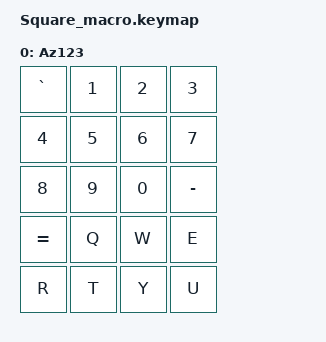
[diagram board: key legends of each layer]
#include <behaviors.dtsi>
#include <dt-bindings/zmk/keys.h>
#include <dt-bindings/zmk/pointing.h>
#include <dt-bindings/zmk/bt.h>
#include <behaviors/rgbled_widget.dtsi>

#define JIS 1
#define BT 3

&mt {
   flavor = "tap-preferred";
   quick_tap_ms = <125>;
   tapping_term_ms = <250>;
};
 
/* {
    macros {
        to_layer_0: to_layer_0 {
            compatible = "zmk,behavior-macro-one-param";
            #binding-cells = <1>;
            bindings = <&to 0 &macro_param_1to1 &kp MACRO_PLACEHOLDER>;
            label = "TO_LAYER_0";
        };
    };

    behaviors {
        lt_to_layer_0: lt_to_layer_0 {
            compatible = "zmk,behavior-hold-tap";
            label = "LAYER_TAP_TO_0";
            bindings = <&mo>, <&to_layer_0>;

            #binding-cells = <2>;
            tapping-term-ms = <200>;
        };
        toJIS: toJIS {
            compatible = "zmk,behavior-hold-tap";
            label = "toJIS";
            #binding-cells = <2>;
            tapping-term-ms = <200>;
            quick-tap-ms = <0>;
            bindings = <&tog>, <&kp>;
        };
        mo2: mo2 {
            compatible = "zmk,behavior-mod-morph";
            #binding-cells = <0>;
            bindings = <&kp N2>, <&kp LBKT>;
            mods = <(MOD_LSFT|MOD_RSFT)>;
        };
        mo6: mo6 {
            compatible = "zmk,behavior-mod-morph";
            #binding-cells = <0>;
            bindings = <&kp N6>, <&kp EQUAL>;
            mods = <(MOD_LSFT|MOD_RSFT)>;
        };
        mo7: mo7 {
            compatible = "zmk,behavior-mod-morph";
            #binding-cells = <0>;
            bindings = <&kp N7>, <&kp LS(N6)>;
            mods = <(MOD_LSFT|MOD_RSFT)>;
        };
        mo8: mo8 {
            compatible = "zmk,behavior-mod-morph";
            #binding-cells = <0>;
            bindings = <&kp N8>, <&kp LS(SQT)>;
            mods = <(MOD_LSFT|MOD_RSFT)>;
        };
        mo9: mo9 {
            compatible = "zmk,behavior-mod-morph";
            #binding-cells = <0>;
            bindings = <&kp N9>, <&kp LS(N8)>;
            mods = <(MOD_LSFT|MOD_RSFT)>;
        };
        mo0: mo0 {
            compatible = "zmk,behavior-mod-morph";
            #binding-cells = <0>;
            bindings = <&kp N0>, <&kp LS(N9)>;
            mods = <(MOD_LSFT|MOD_RSFT)>;
        };
        moMINUS: moMINUS {
            compatible = "zmk,behavior-mod-morph";
            #binding-cells = <0>;
            bindings = <&kp MINUS>, <&kp LS(INT_RO)>;
            mods = <(MOD_LSFT|MOD_RSFT)>;
        };
        moEQUAL: moEQUAL {
            compatible = "zmk,behavior-mod-morph";
            #binding-cells = <0>;
            bindings = <&kp LS(MINUS)>, <&kp COLON>;
            mods = <(MOD_LSFT|MOD_RSFT)>;
        };
        moLBKT: moLBKT {
            compatible = "zmk,behavior-mod-morph";
            #binding-cells = <0>;
            bindings = <&kp RBKT>, <&kp LS(RBRC)>;
            mods = <(MOD_LSFT|MOD_RSFT)>;
        };
        moRBKT: moRBKT {
            compatible = "zmk,behavior-mod-morph";
            #binding-cells = <0>;
            bindings = <&kp BSLH>, <&kp LS(BSLH)>;
            mods = <(MOD_LSFT|MOD_RSFT)>;
        };
        moSEMI: moSEMI {
            compatible = "zmk,behavior-mod-morph";
            #binding-cells = <0>;
            bindings = <&kp SEMI>, <&kp SQT>;
            mods = <(MOD_LSFT|MOD_RSFT)>;
        };
        moSQT: moSQT {
            compatible = "zmk,behavior-mod-morph";
            #binding-cells = <0>;
            bindings = <&kp LS(N7)>, <&kp LS(N2)>;
            mods = <(MOD_LSFT|MOD_RSFT)>;
        };
        moGRAVE: moGRAVE {
            compatible = "zmk,behavior-mod-morph";
            #binding-cells = <0>;
            bindings = <&kp LS(LBRC)>, <&kp LS(EQUAL)>;
            mods = <(MOD_LSFT|MOD_RSFT)>;
        };
    }; 
*/
   keymap {
        compatible = "zmk,keymap";
        default_layer {
            label = "Az123";
            bindings = <
            &kp GRAVE    &kp 1     &kp 2     &kp 3     // Row 1
            &kp 4        &kp 5     &kp 6     &kp 7     // Row 2
            &kp 8        &kp 9     &kp 0     &kp MINUS // Row 3
            &kp EQUAL    &kp Q     &kp W     &kp E     // Row 4
            &kp R        &kp T     &kp Y     &kp U     // Row 5
>;
       };

        
    };
};

